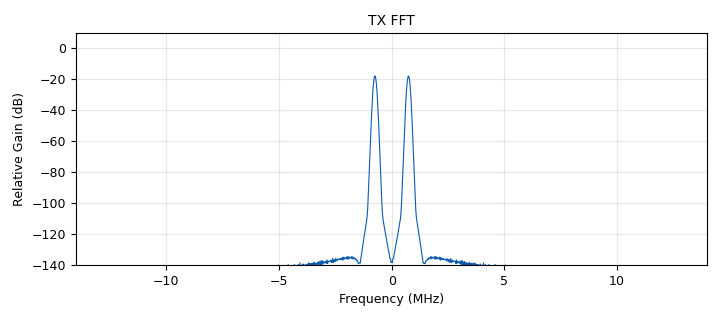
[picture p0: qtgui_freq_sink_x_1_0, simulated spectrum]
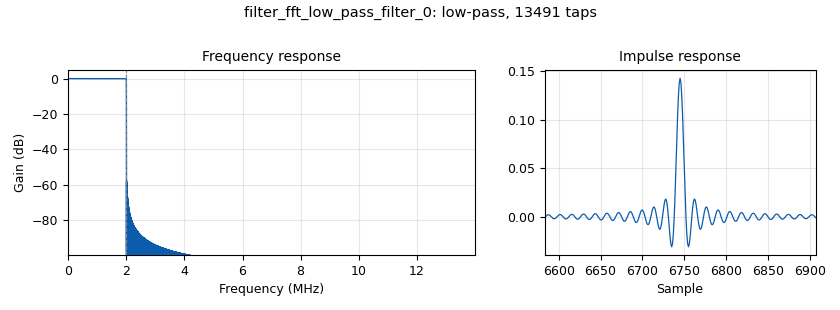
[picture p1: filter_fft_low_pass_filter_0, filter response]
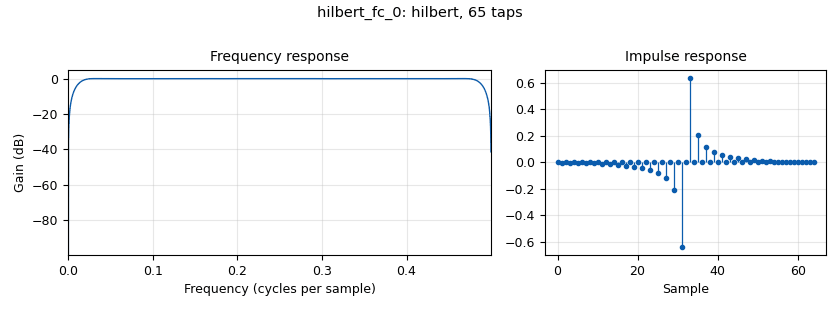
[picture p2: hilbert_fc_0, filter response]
options:
  parameters:
    generate_options: qt_gui
    id: cwfmRadar
    output_language: python
    title: Not titled yet
  states: {}

blocks:
- name: freq
  id: variable
  parameters:
    value: 850e6
  states: {}
- name: samp_rate
  id: variable
  parameters:
    value: '28000000'
  states: {}
- name: analog_fm_demod_cf_0
  id: analog_fm_demod_cf
  parameters:
    audio_decim: '8'
    audio_pass: '15000'
    audio_stop: '16000'
    chan_rate: '384000'
    deviation: '75000'
    gain: '1.0'
    tau: '75e-6'
  states: {state: disabled}
- name: analog_sig_source_x_0
  id: analog_sig_source_x
  parameters:
    amp: '1'
    freq: '10000'
    offset: '0'
    phase: '0'
    samp_rate: samp_rate
    type: float
    waveform: analog.GR_SAW_WAVE
  states: {}
- name: blocks_add_xx_0
  id: blocks_add_xx
  parameters:
    type: float
  states: {}
- name: blocks_complex_to_real_0
  id: blocks_complex_to_real
  parameters: {}
  states: {}
- name: blocks_complex_to_real_0_0
  id: blocks_complex_to_real
  parameters: {}
  states: {state: disabled}
- name: blocks_complex_to_real_0_0_0
  id: blocks_complex_to_real
  parameters: {}
  states: {}
- name: blocks_delay_0
  id: blocks_delay
  parameters:
    delay: '0'
    type: complex
  states: {}
- name: blocks_delay_0_0
  id: blocks_delay
  parameters:
    delay: '5'
    type: float
  states: {}
- name: blocks_delay_0_0_0
  id: blocks_delay
  parameters:
    delay: '10'
    type: float
  states: {}
- name: blocks_head_0
  id: blocks_head
  parameters:
    num_items: '25000000'
    type: float
  states: {state: disabled}
- name: blocks_multiply_conjugate_cc_0
  id: blocks_multiply_conjugate_cc
  parameters: {}
  states: {}
- name: blocks_multiply_xx_0
  id: blocks_multiply_xx
  parameters:
    type: float
  states: {}
- name: blocks_skiphead_0
  id: blocks_skiphead
  parameters:
    num_items: '10000000'
    type: float
  states: {state: disabled}
- name: blocks_vco_f_0
  id: blocks_vco_f
  parameters:
    amplitude: '1'
    samp_rate: samp_rate
    sensitivity: '6280000'
  states: {}
- name: filter_fft_low_pass_filter_0
  id: filter_fft_low_pass_filter
  parameters:
    cutoff_freq: '2000000'
    decim: '1'
    gain: '1'
    nthreads: '4'
    samp_rate: samp_rate
    type: ccc
    width: '5000'
    win: window.WIN_HAMMING
  states: {}
- name: filter_fft_low_pass_filter_0_0
  id: filter_fft_low_pass_filter
  parameters:
    cutoff_freq: '2000000'
    decim: '1'
    gain: '1'
    nthreads: '4'
    samp_rate: samp_rate
    type: fff
    width: '5000'
    win: window.WIN_HAMMING
  states: {}
- name: filter_fft_low_pass_filter_0_0_0
  id: filter_fft_low_pass_filter
  parameters:
    cutoff_freq: samp_rate/2
    decim: '1'
    gain: '1'
    nthreads: '4'
    samp_rate: samp_rate
    type: ccc
    width: '5000'
    win: window.WIN_HAMMING
  states: {state: bypassed}
- name: hilbert_fc_0
  id: hilbert_fc
  parameters:
    num_taps: '64'
  states: {}
- name: qtgui_freq_sink_x_0
  id: qtgui_freq_sink_x
  parameters:
    bw: samp_rate
    fc: '0'
    fftsize: '4096'
    name: '"TX signal"'
    type: complex
  states: {state: disabled}
- name: qtgui_freq_sink_x_0_0
  id: qtgui_freq_sink_x
  parameters:
    bw: samp_rate/2
    fc: '0'
    fftsize: '1024'
    type: complex
  states: {state: disabled}
- name: qtgui_freq_sink_x_0_0_0
  id: qtgui_freq_sink_x
  parameters:
    autoscale: 'True'
    bw: '10000'
    ctrlpanel: 'True'
    fc: '0'
    fftsize: '1024'
    name: '"RX COmplex"'
    type: complex
    ymin: '-180'
  states: {}
- name: qtgui_freq_sink_x_1
  id: qtgui_freq_sink_x
  parameters:
    bw: samp_rate
    fc: '0'
    fftsize: '1024'
    grid: 'True'
    name: '"RX FFT"'
    type: float
    update_time: '0.1'
  states: {}
- name: qtgui_freq_sink_x_1_0
  id: qtgui_freq_sink_x
  parameters:
    bw: samp_rate
    fc: '0'
    fftsize: '1024'
    grid: 'True'
    name: '"TX FFT"'
    type: float
    update_time: '0.1'
  states: {}
- name: qtgui_freq_sink_x_2_0
  id: qtgui_freq_sink_x
  parameters:
    bw: samp_rate
    fc: '0'
    fftsize: '1024'
    name: '"TX Signal!!!!"'
    type: complex
  states: {state: disabled}
- name: qtgui_time_sink_x_0
  id: qtgui_time_sink_x
  parameters:
    size: 1024*4
    srate: samp_rate
    type: complex
  states: {state: disabled}
- name: qtgui_time_sink_x_0_0
  id: qtgui_time_sink_x
  parameters:
    autoscale: 'True'
    ctrlpanel: 'True'
    entags: 'False'
    size: '1024'
    srate: samp_rate
    tr_mode: qtgui.TRIG_MODE_AUTO
    type: float
  states: {state: disabled}
- name: qtgui_time_sink_x_0_0_0
  id: qtgui_time_sink_x
  parameters:
    autoscale: 'True'
    ctrlpanel: 'True'
    entags: 'False'
    name: '"TX time signal"'
    nconnections: '3'
    size: '1024'
    srate: samp_rate
    tr_mode: qtgui.TRIG_MODE_AUTO
    type: float
  states: {}
- name: qtgui_time_sink_x_0_0_0_0
  id: qtgui_time_sink_x
  parameters:
    autoscale: 'True'
    ctrlpanel: 'True'
    entags: 'False'
    name: '"RX time signal"'
    size: '1024'
    srate: samp_rate
    tr_mode: qtgui.TRIG_MODE_AUTO
    type: complex
  states: {}
- name: qtgui_waterfall_sink_x_0
  id: qtgui_waterfall_sink_x
  parameters:
    bw: samp_rate/2
    fc: '0'
    fftsize: '1024'
    grid: 'True'
    showports: 'True'
    type: complex
  states: {state: disabled}
- name: qtgui_waterfall_sink_x_0_0
  id: qtgui_waterfall_sink_x
  parameters:
    bw: '20000'
    fc: '0'
    fftsize: '1024'
    name: '"RX Signal"'
    type: complex
  states: {}
- name: qtgui_waterfall_sink_x_0_1
  id: qtgui_waterfall_sink_x
  parameters:
    bw: samp_rate
    fc: '0'
    fftsize: '1024'
    name: '"TX Signal"'
    type: complex
    update_time: '0.05'
  states: {state: disabled}
- name: soapy_bladerf_sink_0
  id: soapy_bladerf_sink
  parameters:
    bandwidth: samp_rate
    center_freq: freq
    dev_args: '""'
    gain: '40'
    samp_rate: samp_rate
    type: fc32
  states: {}
- name: soapy_bladerf_source_0
  id: soapy_bladerf_source
  parameters:
    bandwidth: samp_rate
    center_freq: freq
    dev_args: '""'
    gain: '0'
    samp_rate: samp_rate
    type: fc32
  states: {}
- name: soapy_plutosdr_sink_0
  id: soapy_plutosdr_sink
  parameters:
    bandwidth: samp_rate
    center_freq: freq
    gain: '85'
    samp_rate: samp_rate
    type: fc32
  states: {state: disabled}
- name: soapy_plutosdr_source_0
  id: soapy_plutosdr_source
  parameters:
    bandwidth: samp_rate
    center_freq: freq
    gain: '0'
    samp_rate: samp_rate
    type: fc32
  states: {state: disabled}

connections:
- [analog_fm_demod_cf_0, '0', qtgui_time_sink_x_0_0, '0']
- [analog_sig_source_x_0, '0', blocks_vco_f_0, '0']
- [blocks_add_xx_0, '0', blocks_multiply_xx_0, '1']
- [blocks_complex_to_real_0, '0', blocks_delay_0_0, '0']
- [blocks_complex_to_real_0, '0', blocks_delay_0_0_0, '0']
- [blocks_complex_to_real_0_0, '0', blocks_multiply_xx_0, '0']
- [blocks_complex_to_real_0_0_0, '0', qtgui_time_sink_x_0_0_0, '1']
- [blocks_delay_0, '0', blocks_complex_to_real_0_0_0, '0']
- [blocks_delay_0, '0', blocks_multiply_conjugate_cc_0, '1']
- [blocks_delay_0_0, '0', blocks_add_xx_0, '1']
- [blocks_delay_0_0_0, '0', blocks_add_xx_0, '0']
- [blocks_head_0, '0', filter_fft_low_pass_filter_0_0, '0']
- [blocks_multiply_conjugate_cc_0, '0', filter_fft_low_pass_filter_0, '0']
- [blocks_multiply_xx_0, '0', blocks_skiphead_0, '0']
- [blocks_multiply_xx_0, '0', filter_fft_low_pass_filter_0_0, '0']
- [blocks_multiply_xx_0, '0', qtgui_time_sink_x_0_0_0, '2']
- [blocks_skiphead_0, '0', blocks_head_0, '0']
- [blocks_vco_f_0, '0', blocks_multiply_xx_0, '0']
- [blocks_vco_f_0, '0', hilbert_fc_0, '0']
- [blocks_vco_f_0, '0', qtgui_freq_sink_x_1_0, '0']
- [blocks_vco_f_0, '0', qtgui_time_sink_x_0_0_0, '0']
- [filter_fft_low_pass_filter_0, '0', qtgui_freq_sink_x_0_0_0, '0']
- [filter_fft_low_pass_filter_0, '0', qtgui_time_sink_x_0_0_0_0, '0']
- [filter_fft_low_pass_filter_0, '0', qtgui_waterfall_sink_x_0_0, '0']
- [filter_fft_low_pass_filter_0_0, '0', qtgui_freq_sink_x_1, '0']
- [filter_fft_low_pass_filter_0_0_0, '0', blocks_complex_to_real_0, '0']
- [hilbert_fc_0, '0', blocks_complex_to_real_0_0, '0']
- [hilbert_fc_0, '0', blocks_multiply_conjugate_cc_0, '0']
- [hilbert_fc_0, '0', qtgui_freq_sink_x_2_0, '0']
- [hilbert_fc_0, '0', qtgui_waterfall_sink_x_0_1, '0']
- [hilbert_fc_0, '0', soapy_bladerf_sink_0, '0']
- [hilbert_fc_0, '0', soapy_plutosdr_sink_0, '0']
- [soapy_bladerf_source_0, '0', blocks_delay_0, '0']
- [soapy_bladerf_source_0, '0', filter_fft_low_pass_filter_0_0_0, '0']
- [soapy_bladerf_source_0, '0', qtgui_waterfall_sink_x_0, '0']
- [soapy_plutosdr_source_0, '0', analog_fm_demod_cf_0, '0']
- [soapy_plutosdr_source_0, '0', blocks_delay_0, '0']
- [soapy_plutosdr_source_0, '0', filter_fft_low_pass_filter_0_0_0, '0']
- [soapy_plutosdr_source_0, '0', qtgui_freq_sink_x_0_0, '0']
- [soapy_plutosdr_source_0, '0', qtgui_waterfall_sink_x_0, '0']

metadata:
  file_format: 1
  grc_version: 3.10.7.0
